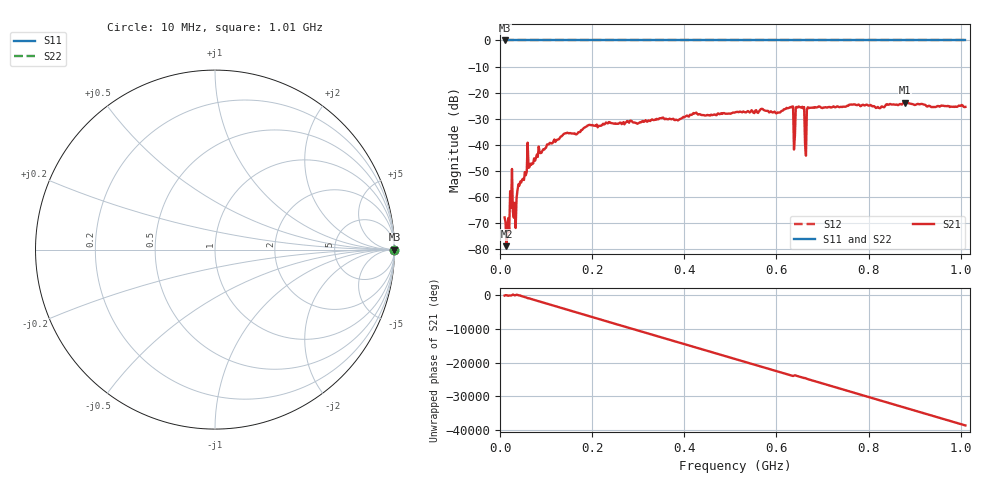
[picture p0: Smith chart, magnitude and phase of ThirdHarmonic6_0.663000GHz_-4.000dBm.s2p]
! 8/15/2025 10:02:02 PM
! C:\ANRITSUVNA\TEMP\TEMP.S2P
! CHANNEL.1
! TR.MEASUREMENT
! RAW.DATA
! RF.CORRECTION.OFF
! AVERAGING.OFF
! IF.BANDWIDTH: 5KHZ
! SWEEPTYPE:  FREQ.SWEEP(Linear)
! Reference Plane Port Info
! PORT:  PORT1  PORT2
! DISTANCE:  0  m  0  m
! TIME:  0  s  0  s
! PHASE.OFFSET:  0  deg.  0  deg.
! LOSS:  0  dB  0  dB
! REF.LOSS:  0  dB  0  dB
! REF.FREQ:  0  Hz  0  Hz
! Power Info
! POWER:  -20  dBm  -20  dBm
! EFF.POWER:  -20  dBm  -20  dBm
! SOURCE.ATTEN:  0  dB  0  dB
! TEST.ATTEN:  0  dB  0  dB
# GHZ S RI R 50.0
! FREQ.GHZ  S11RE  S11IM  S21RE  S21IM  S12RE  S12IM  S22RE  S22IM
!; PortSelection: Port_12
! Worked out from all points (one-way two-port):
!   501 points, 10 MHz to 1.01 GHz, reference 50 ohm
!   highest |S21| = -23.84 dB at 878 MHz (marker M1); lowest = -78.9 dB at 14 MHz (marker M2)
!   lowest |S11| = 0.0 dB at 10 MHz (marker M3)
!   |S11| at or under -10 dB: nowhere
!   |S22| runs from 0.0 to 0.0 dB; largest |S21 - S12| = 1.1
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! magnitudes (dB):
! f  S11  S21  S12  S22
! 10 MHz  0.0  -67.9  0.0  0.0
! 14 MHz  0.0  -78.9  0.0  0.0
! 16 MHz  0.0  -72.8  0.0  0.0
! 22 MHz  0.0  -57.8  0.0  0.0
! 26 MHz  0.0  -49.3  0.0  0.0
! 32 MHz  0.0  -62.3  0.0  0.0
! 40 MHz  0.0  -55.2  0.0  0.0
! 64 MHz  0.0  -48.6  0.0  0.0
! 178 MHz  0.0  -34.3  0.0  0.0
! 344 MHz  0.0  -30.2  0.0  0.0
! 510 MHz  0.0  -27.6  0.0  0.0
! 632 MHz  0.0  -25.6  0.0  0.0
! 636 MHz  0.0  -25.4  0.0  0.0
! 642 MHz  0.0  -25.6  0.0  0.0
! 646 MHz  0.0  -25.7  0.0  0.0
! 652 MHz  0.0  -25.7  0.0  0.0
! 666 MHz  0.0  -26.5  0.0  0.0
! 670 MHz  0.0  -26.0  0.0  0.0
! 678 MHz  0.0  -25.8  0.0  0.0
! 844 MHz  0.0  -24.6  0.0  0.0
! 878 MHz  0.0  -23.8  0.0  0.0
! 1.01 GHz  0.0  -25.5  0.0  0.0
